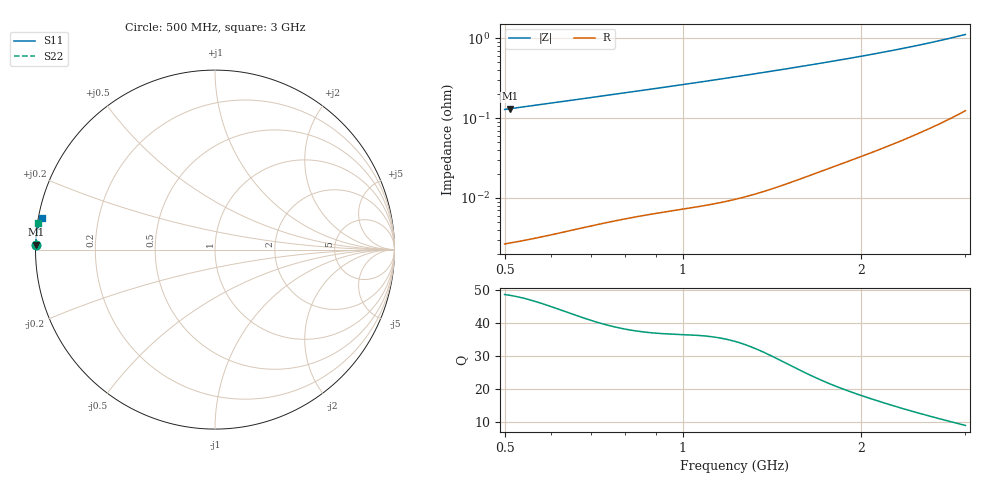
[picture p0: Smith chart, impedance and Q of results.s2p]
! rfsim (KiCad + openEMS)
# HZ S RI R 50
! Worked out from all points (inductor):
!   251 points, 500 MHz to 3 GHz, reference 50 ohm
!   read as one part in shunt: L = 41.4 pH near 510 MHz
!   highest Q = 48.3 at 510 MHz (marker M1), where L = 41 pH
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5e8  -0.9991 0.0266  0.000234 0.00515  0.000232 0.00507  -0.9995 0.0229
5.1e8  -0.9991 0.0272  0.000242 0.00525  0.000242 0.00518  -0.9995 0.0234
5.5e8  -0.999 0.0293  0.000275 0.00567  0.000281 0.00558  -0.9994 0.0252
6e8  -0.9988 0.032  0.000323 0.00619  0.000331 0.00609  -0.9993 0.0275
6.4e8  -0.9986 0.0341  0.000364 0.00661  0.000372 0.0065  -0.9993 0.0293
6.9e8  -0.9984 0.0368  0.000419 0.00714  0.000424 0.00701  -0.9992 0.0316
7.4e8  -0.9982 0.0395  0.000477 0.00768  0.000478 0.00753  -0.9991 0.0339
8e8  -0.998 0.0427  0.00055 0.00832  0.000544 0.00817  -0.9989 0.0367
8.6e8  -0.9977 0.0459  0.000625 0.00897  0.000613 0.00881  -0.9988 0.0394
9.2e8  -0.9974 0.0491  0.000703 0.00963  0.000686 0.00946  -0.9987 0.0422
1.02e9  -0.9969 0.0545  0.000842 0.0107  0.000821 0.0106  -0.9984 0.0468
1.12e9  -0.9964 0.06  0.000998 0.0119  0.000978 0.0117  -0.9981 0.0515
1.23e9  -0.9957 0.0661  0.0012 0.0132  0.00118 0.013  -0.9977 0.0567
1.34e9  -0.9949 0.0723  0.00144 0.0145  0.00142 0.0143  -0.9974 0.0619
1.43e9  -0.9941 0.0774  0.00166 0.0157  0.00164 0.0154  -0.997 0.0662
1.53e9  -0.9932 0.0831  0.00195 0.0169  0.00192 0.0167  -0.9966 0.071
1.64e9  -0.9921 0.0894  0.0023 0.0184  0.00226 0.0181  -0.9961 0.0764
1.75e9  -0.9908 0.0957  0.00269 0.0199  0.00265 0.0196  -0.9955 0.0817
1.95e9  -0.9883 0.1075  0.00351 0.0227  0.00347 0.0224  -0.9943 0.0917
2.17e9  -0.985 0.1207  0.00461 0.0261  0.00456 0.0257  -0.9928 0.1029
2.59e9  -0.977 0.147  0.00752 0.0335  0.00745 0.0331  -0.9892 0.1253
3e9  -0.9659 0.1748  0.012 0.0424  0.0119 0.042  -0.9841 0.1487
